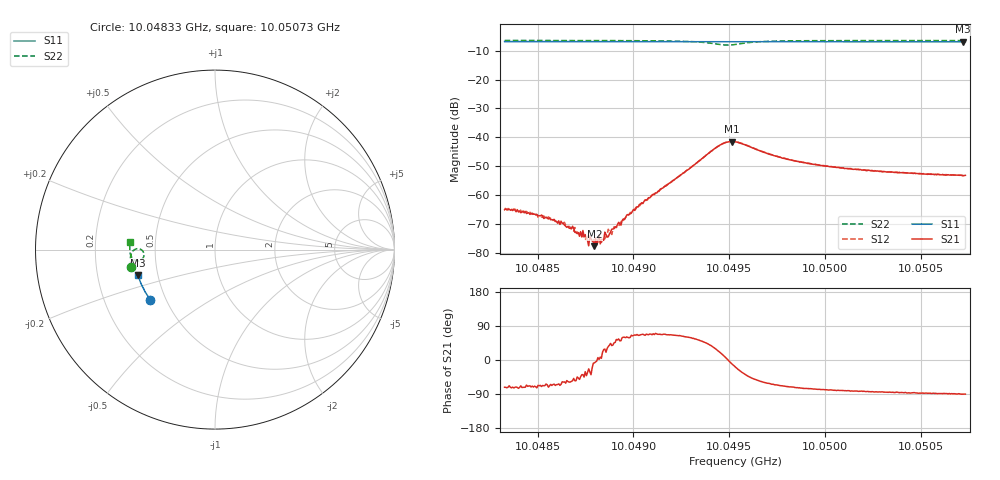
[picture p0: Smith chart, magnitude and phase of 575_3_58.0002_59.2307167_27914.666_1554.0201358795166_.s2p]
#  HZ  S  RI  R  50.00
! Rohde & Schwarz Vector Network Analyzer
! Rohde-Schwarz,ZNB20-2Port,1311601062101988,3.16
! Created: UTC 3/21/2024, 1:16:05 AM
! freq[Hz]  re:S11  im:S11  re:S21  im:S21  re:S12  im:S12  re:S22  im:S22
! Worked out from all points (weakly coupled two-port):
!   401 points, 10.04833 GHz to 10.05073 GHz, reference 50 ohm
!   highest |S21| = -41.49 dB at 10.04951 GHz (marker M1); lowest = -77.8 dB at 10.0488 GHz (marker M2)
!   lowest |S11| = -6.9 dB at 10.05072 GHz (marker M3), VSWR 2.65, Z = 19.3 - j6.86 ohm
!   |S11| at or under -10 dB: nowhere
!   |S22| runs from -8.0 to -6.4 dB; largest |S21 - S12| = 0.00062
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1.0048328e10  -0.3598 -0.2808  0.000171 -0.000524  0.000207 -0.000552  -0.4673 -0.0973
1.0048484e10  -0.3657 -0.2724  0.000165 -0.000431  0.000209 -0.000444  -0.469 -0.086
1.0048562e10  -0.3687 -0.2682  0.000147 -0.000364  0.000172 -0.000363  -0.4697 -0.0803
1.0048622e10  -0.3709 -0.2648  0.000152 -0.000316  0.000166 -0.000277  -0.4702 -0.0757
1.0048707e10  -0.3741 -0.2603  0.000151 -0.00015  0.000138 -0.000179  -0.4709 -0.0693
1.0048731e10  -0.3747 -0.259  0.000145 -0.000117  0.000169 -0.000125  -0.471 -0.0674
1.0048749e10  -0.3754 -0.2579  0.000175 -0.000105  0.000142 -9.95e-05  -0.4712 -0.0659
1.0048755e10  -0.3757 -0.2576  0.000135 -0.00012  0.000146 -8.14e-05  -0.4711 -0.0654
1.0048797e10  -0.3771 -0.2555  0.000128 -1.67e-05  0.000167 -2.55e-05  -0.4714 -0.0621
1.0048845e10  -0.3788 -0.2526  0.000144 7.53e-05  0.000146 8.78e-05  -0.4714 -0.0581
1.0048869e10  -0.3796 -0.2512  0.000153 0.000109  0.000207 0.000146  -0.4714 -0.0559
1.0048917e10  -0.3815 -0.2486  0.000186 0.000244  0.000172 0.000238  -0.4715 -0.0516
1.0049007e10  -0.3844 -0.2435  0.000217 0.000492  0.000228 0.000523  -0.4711 -0.0432
1.0049133e10  -0.3885 -0.2363  0.000432 0.00106  0.000376 0.00113  -0.4688 -0.0296
1.0049433e10  -0.3975 -0.2186  0.00595 0.00307  0.00574 0.00349  -0.4139 0.00151
1.0049511e10  -0.3995 -0.2146  0.00831 -0.00139  0.00841 -0.00081  -0.3973 -0.0397
1.0049529e10  -0.4001 -0.2136  0.00792 -0.00259  0.00812 -0.00201  -0.4025 -0.0496
1.0049746e10  -0.4068 -0.2013  0.00193 -0.00425  0.00218 -0.00416  -0.4636 -0.0441
1.0049932e10  -0.4119 -0.19  0.000819 -0.00332  0.00101 -0.0033  -0.4726 -0.0211
1.0050334e10  -0.4216 -0.1653  0.000225 -0.00249  0.000366 -0.0025  -0.4754 0.0141
1.0050719e10  -0.4296 -0.1415  -1.48e-06 -0.00215  0.000118 -0.00216  -0.474 0.0422
1.0050731e10  -0.4299 -0.1407  -1.12e-06 -0.00218  0.000147 -0.00217  -0.4739 0.0433
